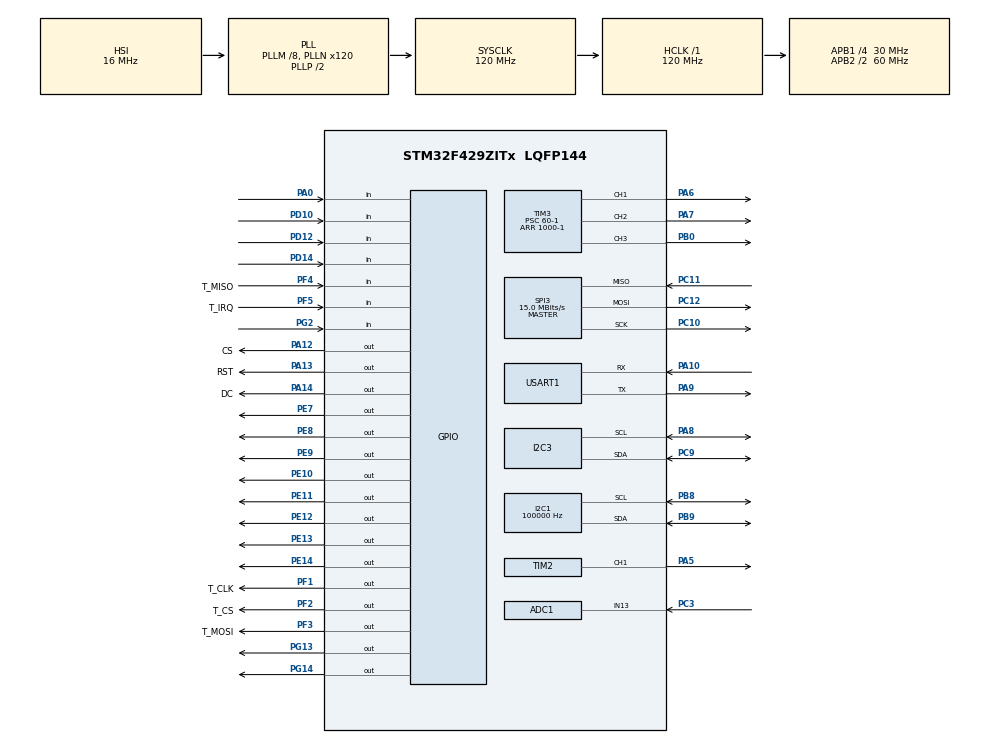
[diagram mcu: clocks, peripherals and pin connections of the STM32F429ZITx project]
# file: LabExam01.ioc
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ADC1.Channel-0\#ChannelRegularConversion=ADC_CHANNEL_13
ADC1.ContinuousConvMode=ENABLE
ADC1.EOCSelection=ADC_EOC_SEQ_CONV
ADC1.NbrOfConversionFlag=1
ADC1.Rank-0\#ChannelRegularConversion=1
ADC1.SamplingTime-0\#ChannelRegularConversion=ADC_SAMPLETIME_3CYCLES
ADC1.master=1
I2C1.ClockSpeed=100000
Mcu.Family=STM32F4
Mcu.Name=STM32F429ZITx
Mcu.Package=LQFP144
NVIC.PriorityGroup=NVIC_PRIORITYGROUP_4
PA0/WKUP.Signal=GPIO_Input
PA10.Mode=Asynchronous
PA10.Signal=USART1_RX
PA12.GPIO_Label=CS
PA12.GPIO_Speed=GPIO_SPEED_FREQ_VERY_HIGH
PA12.Signal=GPIO_Output
PA13.GPIO_Label=RST
PA13.GPIO_Speed=GPIO_SPEED_FREQ_VERY_HIGH
PA13.Signal=GPIO_Output
PA14.GPIO_Label=DC
PA14.GPIO_Speed=GPIO_SPEED_FREQ_VERY_HIGH
PA14.Signal=GPIO_Output
PA5.Signal=S_TIM2_CH1_ETR
PA6.Signal=S_TIM3_CH1
PA7.Signal=S_TIM3_CH2
PA8.Mode=I2C
PA8.Signal=I2C3_SCL
PA9.Mode=Asynchronous
PA9.Signal=USART1_TX
PB0.Signal=S_TIM3_CH3
PB8.Mode=I2C
PB8.Signal=I2C1_SCL
PB9.Mode=I2C
PB9.Signal=I2C1_SDA
PC10.Mode=Full_Duplex_Master
PC10.Signal=SPI3_SCK
PC11.Mode=Full_Duplex_Master
PC11.Signal=SPI3_MISO
PC12.Mode=Full_Duplex_Master
PC12.Signal=SPI3_MOSI
PC3.Signal=ADCx_IN13
PC9.Mode=I2C
PC9.Signal=I2C3_SDA
PD10.Signal=GPIO_Input
PD12.Signal=GPIO_Input
PD14.Signal=GPIO_Input
PE10.Signal=GPIO_Output
PE11.Signal=GPIO_Output
PE12.Signal=GPIO_Output
PE13.Signal=GPIO_Output
PE14.Signal=GPIO_Output
PE7.Signal=GPIO_Output
PE8.Signal=GPIO_Output
PE9.Signal=GPIO_Output
PF1.GPIO_Label=T_CLK
PF1.GPIO_Speed=GPIO_SPEED_FREQ_VERY_HIGH
PF1.Signal=GPIO_Output
PF2.GPIO_Label=T_CS
PF2.GPIO_Speed=GPIO_SPEED_FREQ_VERY_HIGH
PF2.Signal=GPIO_Output
PF3.GPIO_Label=T_MOSI
PF3.GPIO_Speed=GPIO_SPEED_FREQ_VERY_HIGH
PF3.Signal=GPIO_Output
PF4.GPIO_Label=T_MISO
PF4.Signal=GPIO_Input
PF5.GPIO_Label=T_IRQ
PF5.Signal=GPIO_Input
PG13.Signal=GPIO_Output
PG14.Signal=GPIO_Output
PG2.Signal=GPIO_Input
ProjectManager.HeapSize=0x200
ProjectManager.StackSize=0x400
ProjectManager.TargetToolchain=STM32CubeIDE
RCC.48MHZClocksFreq_Value=48000000
RCC.AHBFreq_Value=120000000
RCC.APB1CLKDivider=RCC_HCLK_DIV4
RCC.APB1Freq_Value=30000000
RCC.APB1TimFreq_Value=60000000
RCC.APB2CLKDivider=RCC_HCLK_DIV2
RCC.APB2Freq_Value=60000000
RCC.APB2TimFreq_Value=120000000
RCC.CortexFreq_Value=120000000
RCC.HCLKFreq_Value=120000000
RCC.HSE_VALUE=25000000
RCC.HSI_VALUE=16000000
RCC.LSE_VALUE=32768
RCC.PLLM=8
RCC.PLLN=120
RCC.PLLQ=5
RCC.SYSCLKFreq_VALUE=120000000
RCC.SYSCLKSource=RCC_SYSCLKSOURCE_PLLCLK
RCC.VCOOutputFreq_Value=240000000
SH.ADCx_IN13.0=ADC1_IN13,IN13
SH.S_TIM2_CH1_ETR.0=TIM2_CH1,PWM Generation1 CH1
SH.S_TIM3_CH1.0=TIM3_CH1,PWM Generation1 CH1
SH.S_TIM3_CH2.0=TIM3_CH2,PWM Generation2 CH2
SH.S_TIM3_CH3.0=TIM3_CH3,PWM Generation3 CH3
SPI3.CalculateBaudRate=15.0 MBits/s
SPI3.Direction=SPI_DIRECTION_2LINES
SPI3.Mode=SPI_MODE_MASTER
SPI3.VirtualType=VM_MASTER
TIM1.ClockDivision=TIM_CLOCKDIVISION_DIV2
TIM1.Period=12-1
TIM1.Prescaler=10000-1
TIM2.Channel-PWM\ Generation1\ CH1=TIM_CHANNEL_1
TIM2.Period=1000-1
TIM2.Prescaler=60-1
TIM2.Pulse-PWM\ Generation1\ CH1=1000-1
TIM3.Channel-PWM\ Generation1\ CH1=TIM_CHANNEL_1
TIM3.Channel-PWM\ Generation2\ CH2=TIM_CHANNEL_2
TIM3.Channel-PWM\ Generation3\ CH3=TIM_CHANNEL_3
TIM3.Period=1000-1
TIM3.Prescaler=60-1
TIM3.Pulse-PWM\ Generation1\ CH1=1000-1
TIM3.Pulse-PWM\ Generation2\ CH2=1000-1
TIM3.Pulse-PWM\ Generation3\ CH3=1000-1
USART1.VirtualMode=VM_ASYNC
VP_RNG_VS_RNG.Mode=RNG_Activate
VP_TIM1_VS_ClockSourceINT.Mode=Internal
VP_TIM3_VS_ClockSourceINT.Mode=Internal
board=custom

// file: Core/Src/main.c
/* USER CODE BEGIN Header */
/**
  ******************************************************************************
  * @file           : main.c
  * @brief          : Main program body
  ******************************************************************************
  * @attention
  *
  * <h2><center>&copy; Copyright (c) 2021 STMicroelectronics.
  * All rights reserved.</center></h2>
  *
  * This software component is licensed by ST under BSD 3-Clause license,
  * the "License"; You may not use this file except in compliance with the
  * License. You may obtain a copy of the License at:
  *                        opensource.org/licenses/BSD-3-Clause
  *
  ******************************************************************************
  */
/* USER CODE END Header */
#include "main.h"
#include "adc.h"
#include "i2c.h"
#include "rng.h"
#include "spi.h"
#include "tim.h"
#include "usart.h"
#include "gpio.h"

/* USER CODE BEGIN Includes */
#include "stdio.h"
#include "ILI9341_Touchscreen.h"

#include "ILI9341_STM32_Driver.h"
#include "ILI9341_GFX.h"

#include "snow_tiger.h"
#include "pop.h"
#include "string.h"

#include "stdbool.h"
/* USER CODE END Includes */

void SystemClock_Config(void);

/* USER CODE BEGIN 0 */
uint32_t color = 0x0000;
uint32_t value1 = 0x0000;
uint32_t value2 = 0x0000;
uint32_t value3 = 0x0000;

I2C_HandleTypeDef hi2c1; // not use
I2C_HandleTypeDef hi2c3; // not use

bool pressButton1 = false;
bool pressButton2 = false;
bool pressButton3 = false;
bool pressButton4 = false;

bool isPressButton1 = false;
bool isPressButton2 = false;
bool isPressButton3 = false;
bool isPressButton4 = false;

bool changeState = false;

float prevDuty = 0;

uint8_t mode = 0; // not use
uint8_t num = 0;

uint32_t now = 0;		//may use
uint32_t prenow = 0;	//may use
uint32_t sec = 0;		//may use
uint32_t counting = 3001;

float dutyCycleScreen = 0.0;

float dutyCycleR = 0.0;
float dutyCycleG = 0.0;
float dutyCycleB = 0.0;

char Temp_Buffer_text[50];

//ADC

volatile uint32_t adc_val = 0;

void displayHEX(uint32_t value){

	char hexString[100];

	sprintf(hexString,"ADC1_CH13 0x%08X Vin = %.2f V RawValue = %d\r\n", value, (float)value*3.3/4096.0, value);
	HAL_UART_Transmit(&huart1, (uint8_t*) hexString, strlen(hexString), 100);
	HAL_Delay(50);

	/*
	char ch1;
	//Waiting Receive...
	while(__HAL_UART_GET_FLAG(&huart1, UART_FLAG_RXNE)== RESET) {}
	HAL_UART_Receive(&huart1, (uint8_t*) &ch1, 1, 1000);

	switch (ch1){
	  case '1':
	  	  break;
	  default:

	}
	*/
}

/* USER CODE END 0 */

int main(void)
{

  /* MCU Configuration--------------------------------------------------------*/

  /* Reset of all peripherals, Initializes the Flash interface and the Systick. */
  HAL_Init();

  /* Configure the system clock */
  SystemClock_Config();

  /* Initialize all configured peripherals */
  MX_TIM1_Init();
  MX_GPIO_Init();
  MX_RNG_Init();
  MX_SPI3_Init();
  MX_USART1_UART_Init();
  MX_I2C1_Init();
  MX_ADC1_Init();
  MX_TIM2_Init();
  MX_I2C3_Init();
  MX_TIM3_Init();
  /* USER CODE BEGIN 2 */
  ILI9341_Init();//initial driver setup to drive ili9341

  HAL_ADC_Start(&hadc1);

  GPIOE -> BSRR = 0x00007F80 << num;	// off all

  void ADC_PWM(){

  		//ADC
  		  while(HAL_ADC_PollForConversion(&hadc1, 100) != HAL_OK){} // skip
  		  adc_val = HAL_ADC_GetValue(&hadc1); // get value of adc
  		  //displayHEX(adc_val);

	    //PWM
  		  dutyCycleScreen = ((adc_val/4095.0) * 0.55) + 0.25; // for 25% - 80%  // 0.8 is interval
  		  //No. 2
  		  htim2.Instance -> CCR1 = (100-1) * dutyCycleScreen;

  		 float displayNum = 0;

//  		  if(dutyCycleScreen >= 0.25 && dutyCycleScreen <= 0.45){
//  			displayNum =
//  		  }else if(dutyCycleScreen >= 0.50 && dutyCycleScreen <= 0.65){
//  			ILI9341_Draw_Text(Temp_Buffer_text,  320/2-20, 240/2-20, BLUE, 2, WHITE);
//  		  }else if(dutyCycleScreen >= 0.70 && dutyCycleScreen <= 0.80){
//  			ILI9341_Draw_Text(Temp_Buffer_text,  320/2-20, 240/2-20, CYAN, 2, WHITE);
//  		  }

  		if(dutyCycleScreen >= 0.25 && dutyCycleScreen < 0.30){
  			displayNum = 0.25;
  		}else if(dutyCycleScreen >= 0.30 && dutyCycleScreen < 0.35){
  			displayNum = 0.30;
  		}else if(dutyCycleScreen >= 0.35 && dutyCycleScreen < 0.40){
  			displayNum = 0.35;
  		}else if(dutyCycleScreen >= 0.40 && dutyCycleScreen < 0.45){
  			displayNum = 0.40;
 		}else if(dutyCycleScreen >= 0.45 && dutyCycleScreen < 0.50){
 			displayNum = 0.45;
 		}else if(dutyCycleScreen >= 0.50 && dutyCycleScreen < 0.55){
 			displayNum = 0.50;
 		}else if(dutyCycleScreen >= 0.55 && dutyCycleScreen < 0.60){
 			displayNum = 0.55;
 		}else if(dutyCycleScreen >= 0.60 && dutyCycleScreen < 0.65){
 			displayNum = 0.60;
 		}else if(dutyCycleScreen >= 0.65 && dutyCycleScreen < 0.68){
 			displayNum = 0.65;
 		}else if(dutyCycleScreen >= 0.68 && dutyCycleScreen < 0.75){
 			displayNum = 0.70;
 		}else if(dutyCycleScreen >= 0.75 && dutyCycleScreen < 0.79){
 			displayNum = 0.75;
 		}else if(dutyCycleScreen >= 0.79){
 			displayNum = 0.80;
 		}

  		if(prevDuty != displayNum){
  			changeState = true;
  			prevDuty = displayNum;
  		}

  		sprintf(Temp_Buffer_text, "%d", (uint8_t) (displayNum*100));
  		ILI9341_Set_Rotation(SCREEN_HORIZONTAL_1);
  		  if(displayNum >= 0.25 && displayNum <= 0.45){
  			  if(changeState == true){
  	  			ILI9341_Draw_Filled_Rectangle_Coord(0, 0, 320, 240, GREEN);
  	  			ILI9341_Draw_Text(Temp_Buffer_text, 320/2-20, 240/2-20, YELLOW, 2, GREEN);
  	  			changeState = false;
  			  }

  		  }else if(displayNum >= 0.50 && displayNum < 0.68){
  			  if(changeState == true){
  	  			ILI9341_Draw_Filled_Rectangle_Coord(0, 0, 320, 240, YELLOW);
  	  			ILI9341_Draw_Text(Temp_Buffer_text,  320/2-20, 240/2-20, BLUE, 2, YELLOW);
  				changeState = false;
  			  }

  		  }else if(displayNum >= 0.68 && displayNum <= 0.99){
  			ILI9341_Draw_Filled_Rectangle_Coord(0, 0, 320, 240, RED);
  			if(sec % 2 == 0){
  				sprintf(Temp_Buffer_text, "%d", (uint8_t) (displayNum*100));
  				ILI9341_Draw_Text(Temp_Buffer_text,  320/2-20, 240/2-20, CYAN, 2, RED);
  			}else{
  				sprintf(Temp_Buffer_text, "  ", (uint8_t) (displayNum*100));
  	  			ILI9341_Draw_Text(Temp_Buffer_text,  320/2-20, 240/2-20, CYAN, 2, RED);
  			}
  		  }

  		  HAL_TIM_PWM_Start(&htim3, TIM_CHANNEL_1);

//  		  switch(ch){
//			  case 'r':
//				  dutyCycleR += 0.2;
//				  if(dutyCycleR > 1.0){
//					  dutyCycleR = 0.0;
//				  }
//				  break;
//			  case 'g':
//				  dutyCycleG += 0.2;
//				  if(dutyCycleG > 1.0){
//					  dutyCycleG = 0.0;
//				  }
//				  break;
//			  case 'b':
//				  dutyCycleB += 0.2;
//				  if(dutyCycleB > 1.0){
//					  dutyCycleB = 0.0;
//				  }
//				  break;
//
//		  }

  		  HAL_TIM_PWM_Start(&htim2, TIM_CHANNEL_1);
  		  htim3.Instance -> CCR1 = (1000-1) * dutyCycleScreen;

  		  /*
  		     float dutyCycleB = 0.0;

  		   	 htim2.Instance -> CCR1 = (100-1) * dutyCycleB;
	  	  	 HAL_TIM_PWM_Start(&htim2, TIM_CHANNEL_1);
  			 HAL_Delay(1000);
  		  	 // HAL_TIM_PWM_Stop(&htim2, TIM_CHANNEL_1);

  		   */
  	}

  void readButton(){
	pressButton1 = !HAL_GPIO_ReadPin(GPIOD, GPIO_PIN_10); // pressButton1 is "true" when press, is "false" when not press
	pressButton2 = !HAL_GPIO_ReadPin(GPIOD, GPIO_PIN_12); // pressButton1 is "true" when press, is "false" when not press
	pressButton3 = !HAL_GPIO_ReadPin(GPIOD, GPIO_PIN_14); // pressButton1 is "true" when press, is "false" when not press
	pressButton4 = !HAL_GPIO_ReadPin(GPIOG, GPIO_PIN_2); // pressButton1 is "true" when press, is "false" when not press

//	char hexString[100];
//	sprintf(hexString,"%d %d %d %d\r\n",pressButton1, pressButton2, pressButton3, pressButton4);
//	HAL_UART_Transmit(&huart1, (uint8_t*) hexString, strlen(hexString), 100);

  }

  void ledPack(){

		// on when 0 (RESET)
		// off when 1 (SET)
		uint8_t on = 0;
		uint8_t off = 1;

		//Basic WritePin
	//	HAL_GPIO_WritePin(GPIOE, GPIO_PIN_7, off);
	//	HAL_GPIO_WritePin(GPIOE, GPIO_PIN_8, off);
	//	HAL_GPIO_WritePin(GPIOE, GPIO_PIN_9, off);
	//	HAL_GPIO_WritePin(GPIOE, GPIO_PIN_10, off);
	//	HAL_GPIO_WritePin(GPIOE, GPIO_PIN_11, off);
	//	HAL_GPIO_WritePin(GPIOE, GPIO_PIN_12, off);
	//	HAL_GPIO_WritePin(GPIOE, GPIO_PIN_13, off);
	//	HAL_GPIO_WritePin(GPIOE, GPIO_PIN_14, off);

//		HAL_GPIO_TogglePin(GPIOE, GPIO_PIN_7)

					    //RESET SET
//		GPIOE -> BSRR = 0x00000080 << num;	// off
//		GPIOE -> BSRR = 0x00400000 << num;	// on
//		HAL_Delay(500);
//		num++;
//		if(num == 9){ // on follow off 9 times
//			num = 0;
//		}

		//Step 1
//		GPIOE -> BSRR = 0x78000000 << num;	// on
//		HAL_Delay(500);
//		GPIOE -> BSRR = 0x00007F80 << num;	// off
//		HAL_Delay(500);
//
//		//Step 2
//		GPIOE -> BSRR = 0x07800000 << num;	// on
//		HAL_Delay(500);
//		GPIOE -> BSRR = 0x00007F80 << num;	// off
//		HAL_Delay(500);
//
//		//Step 3
//		GPIOE -> BSRR = 0x60000000 << num;	// on
//		HAL_Delay(500);
//		GPIOE -> BSRR = 0x00007F80 << num;	// off
//		HAL_Delay(500);
//
//		//Step 4
//		GPIOE -> BSRR = 0x01800000 << num;	// on
//		HAL_Delay(500);
//		GPIOE -> BSRR = 0x00007F80 << num;	// off
//		HAL_Delay(500);

		/*

		//Light Off		//RESET SET
		GPIOC -> BSRR = (0x00000700);
		HAL_Delay(500);

		//Light On
		GPIOC -> BSRR = (0x04000000 >> n);
		HAL_Delay(500);

		 */
  }

  void ledRGB(){

	  //static

//	  dutyCycleG =0.5;
//	  dutyCycleB =0.5;

//	  htim3.Instance -> CCR2 = (100-1) * dutyCycleG;
//	  htim3.Instance -> CCR3 = (100-1) * dutyCycleB;

//	  HAL_TIM_PWM_Start(&htim3, TIM_CHANNEL_2);
//	  HAL_TIM_PWM_Start(&htim3, TIM_CHANNEL_3);

//	  //Waiting Receive...
//	  while(__HAL_UART_GET_FLAG(&huart1, UART_FLAG_RXNE)== RESET) {
//		  pwmR = ((GPIOB-> IDR & GPIO_PIN_3) >> 3);
//		  pwmG = ((GPIOA-> IDR & GPIO_PIN_5) >> 5)+1;
//		  pwmB = ((GPIOB-> IDR & GPIO_PIN_4) >> 4)+2;
//	  }
//	  HAL_UART_Receive(&huart1, (uint8_t*) &ch, 1, 1000);

//	  switch(ch){
//	  case 'r':
//		  dutyCycleR += 0.2;
//		  if(dutyCycleR > 1.0){
//			  dutyCycleR = 0.0;
//		  }
//		  break;
//	  case 'g':
//		  dutyCycleG += 0.2;
//		  if(dutyCycleG > 1.0){
//			  dutyCycleG = 0.0;
//		  }
//		  break;
//	  case 'b':
//		  dutyCycleB += 0.2;
//		  if(dutyCycleB > 1.0){
//			  dutyCycleB = 0.0;
//		  }
//		  break;
//
//	  }

//	  It doesn't need to have stop functions
//	  HAL_TIM_PWM_Stop(&htim2, TIM_CHANNEL_2);
//	  HAL_TIM_PWM_Stop(&htim2, TIM_CHANNEL_1);
//	  HAL_TIM_PWM_Stop(&htim3, TIM_CHANNEL_1);
  }

  void clockCalculation(){

  }

  /* USER CODE END 2 */

  /* Infinite loop */
  while (1)
  {

    /* USER CODE BEGIN 3 */

//		now = HAL_GetTick();
//		uint8_t on = 0;
//		uint8_t off = 1;
//	  	readButton();
//
//	  	if(pressButton1 == 1){
//	  		mode = 1 ;
//	  		sec = 0;
//	  	}
//
//
//	  	if(mode == 0){
//
//
//			if (now - prenow >= 1000){
//
//				sprintf(Temp_Buffer_text,"%d\r\n", counting);
//				HAL_UART_Transmit(&huart1, (uint8_t*) Temp_Buffer_text, strlen(Temp_Buffer_text), 100);
//
//				sec++;
//				prenow = now;
//				counting += 2;
//
//			}
//			if(counting > 3029){
//				sprintf(Temp_Buffer_text,"STOP\r\n");
//				HAL_UART_Transmit(&huart1, (uint8_t*) Temp_Buffer_text, strlen(Temp_Buffer_text), 100);
//				break;
//			}
//
//	  	}else if (mode == 1){
//			if (now - prenow >= 1000){
//
////				sprintf(Temp_Buffer_text,"%d\r\n", counting);
////				HAL_UART_Transmit(&huart1, (uint8_t*) Temp_Buffer_text, strlen(Temp_Buffer_text), 100);
//
//				sec++;
//				prenow = now;
//			}
//			if(sec == 1){
//				HAL_GPIO_WritePin(GPIOE, GPIO_PIN_7, on);
//			}else if(sec == 2){
//				HAL_GPIO_WritePin(GPIOE, GPIO_PIN_8, on);
//			}else if(sec == 3){
//				HAL_GPIO_WritePin(GPIOE, GPIO_PIN_7, off);
//				HAL_GPIO_WritePin(GPIOE, GPIO_PIN_8, off);
//				mode = 0;
//			}
//
//	  	}

//	//Initialise screen
//	ILI9341_Fill_Screen(WHITE);
//	ILI9341_Set_Rotation(SCREEN_HORIZONTAL_1);
//
//
//	//Print something here ...
//	//...
//
//	uint32_t maxWidth = 320;
//	uint32_t maxHeight = 240;
//
//
//	sprintf(Temp_Buffer_text, "This is a test");
//	ILI9341_Draw_Text(Temp_Buffer_text, 10, 40, BLACK, 2, WHITE);
//
//
//	//Start While Touch
//	while(1){
//
//		// update or read value
		ADC_PWM();
//		readButton();
//		ledPack();
//		ledRGB();
//		clockCalculation();
//
//		ILI9341_Set_Rotation(SCREEN_VERTICAL_1);
//
//		if(TP_Touchpad_Pressed())
//		{
//
//			uint16_t x_pos = 0;
//			uint16_t y_pos = 0;
//
//
//			//HAL_GPIO_WritePin(GPIOG, GPIO_PIN_13|GPIO_PIN_14, GPIO_PIN_SET);
//
//			uint16_t position_array[2];
//
//			if(TP_Read_Coordinates(position_array) == TOUCHPAD_DATA_OK)
//			{
//				x_pos = position_array[0];
//				y_pos = position_array[1];
//				//ILI9341_Draw_Filled_Circle(x_pos, y_pos, 2, BLACK);
//
//
//				if(x_pos > 0 && x_pos < 240 && y_pos > 0  && y_pos < 320/2-50){
//					mode = 1;
//					break;
//				}
//
//				//Check x_pos y_pos for mapping
//
////				ILI9341_Set_Rotation(SCREEN_HORIZONTAL_1);
////				char counter_buff[30];
////				sprintf(counter_buff, "POS X: %.3d", x_pos);
////				ILI9341_Draw_Text(counter_buff, 10, 80, BLACK, 2, WHITE);
////				sprintf(counter_buff, "POS Y: %.3d", y_pos);
////				ILI9341_Draw_Text(counter_buff, 10, 120, BLACK, 2, WHITE);
//
//
//				//All Update when pressed
//				//...
//			}
//		}
//		//All Update when not pressed
//		//...
//
//
//		//Counting
////  	  	now = HAL_GetTick();
////  	  	if (now - prenow >= 1000){
////				sec++;
////				prenow = now;
////  	  	}
////
////  	  	if(sec == 5){
////  	  		sec = 0;
////  	  		mode = 1;
////  	  		break;
////  	  	}
//
//	}
//	//End While Touch

//----------------------------------------------------------COUNTING MULTIPLE SEGMENTS
//	  		ILI9341_Fill_Screen(WHITE);
//	  		ILI9341_Set_Rotation(SCREEN_HORIZONTAL_1);
//	  		ILI9341_Draw_Text("Counting multiple segments at once", 10, 10, BLACK, 1, WHITE);
//	  		HAL_Delay(2000);
//	  		ILI9341_Fill_Screen(WHITE);
//
//
//	  		for(uint16_t i = 0; i <= 10; i++)
//	  		{
//	  		sprintf(Temp_Buffer_text, "Counting: %d", i);
//	  		ILI9341_Draw_Text(Temp_Buffer_text, 10, 10, BLACK, 2, WHITE);
//	  		ILI9341_Draw_Text(Temp_Buffer_text, 10, 30, BLUE, 2, WHITE);
//	  		ILI9341_Draw_Text(Temp_Buffer_text, 10, 50, RED, 2, WHITE);
//	  		ILI9341_Draw_Text(Temp_Buffer_text, 10, 70, GREEN, 2, WHITE);
//	  		ILI9341_Draw_Text(Temp_Buffer_text, 10, 90, BLACK, 2, WHITE);
//	  		ILI9341_Draw_Text(Temp_Buffer_text, 10, 110, BLUE, 2, WHITE);
//	  		ILI9341_Draw_Text(Temp_Buffer_text, 10, 130, RED, 2, WHITE);
//	  		ILI9341_Draw_Text(Temp_Buffer_text, 10, 150, GREEN, 2, WHITE);
//	  		ILI9341_Draw_Text(Temp_Buffer_text, 10, 170, WHITE, 2, BLACK);
//	  		ILI9341_Draw_Text(Temp_Buffer_text, 10, 190, BLUE, 2, BLACK);
//	  		ILI9341_Draw_Text(Temp_Buffer_text, 10, 210, RED, 2, BLACK);
//	  		}
//
//	  		HAL_Delay(1000);

//----------------------------------------------------------COUNTING SINGLE SEGMENT
//	  		ILI9341_Fill_Screen(WHITE);
//	  		ILI9341_Set_Rotation(SCREEN_HORIZONTAL_1);
//	  		ILI9341_Draw_Text("Counting single segment", 10, 10, BLACK, 1, WHITE);
//	  		HAL_Delay(2000);
//	  		ILI9341_Fill_Screen(WHITE);
//
//	  		for(uint16_t i = 0; i <= 100; i++)
//	  		{
//	  		sprintf(Temp_Buffer_text, "Counting: %d", i);
//	  		ILI9341_Draw_Text(Temp_Buffer_text, 10, 10, BLACK, 3, WHITE);
//	  		}
//
//	  		HAL_Delay(1000);

//----------------------------------------------------------ALIGNMENT TEST
//	  		ILI9341_Fill_Screen(WHITE);
//	  		ILI9341_Set_Rotation(SCREEN_HORIZONTAL_1);
//	  		ILI9341_Draw_Text("Rectangle alignment check", 10, 10, BLACK, 1, WHITE);
//	  		HAL_Delay(2000);
//	  		ILI9341_Fill_Screen(WHITE);
//
//	  		ILI9341_Draw_Hollow_Rectangle_Coord(50, 50, 100, 100, BLACK);
//	  		ILI9341_Draw_Filled_Rectangle_Coord(20, 20, 50, 50, BLACK);
//	  		ILI9341_Draw_Hollow_Rectangle_Coord(10, 10, 19, 19, BLACK);
//	  		HAL_Delay(1000);

//----------------------------------------------------------LINES EXAMPLE

		//Line and Horizontal and Vertical

//	  		ILI9341_Fill_Screen(WHITE);
//	  		ILI9341_Set_Rotation(SCREEN_HORIZONTAL_1);
//	  		ILI9341_Draw_Text("Randomly placed and sized", 10, 10, BLACK, 1, WHITE);
//	  		ILI9341_Draw_Text("Horizontal and Vertical lines", 10, 20, BLACK, 1, WHITE);
//	  		HAL_Delay(2000);
//	  		ILI9341_Fill_Screen(WHITE);
//
//	  		for(uint32_t i = 0; i < 30000; i++)
//	  		{
//	  			uint32_t random_num = 0;
//	  			uint16_t xr = 0;
//	  			uint16_t yr = 0;
//	  			uint16_t radiusr = 0;
//	  			uint16_t colourr = 0;
//	  			random_num = HAL_RNG_GetRandomNumber(&hrng);
//	  			xr = random_num;
//	  			random_num = HAL_RNG_GetRandomNumber(&hrng);
//	  			yr = random_num;
//	  			random_num = HAL_RNG_GetRandomNumber(&hrng);
//	  			radiusr = random_num;
//	  			random_num = HAL_RNG_GetRandomNumber(&hrng);
//	  			colourr = random_num;
//
//	  			xr &= 0x01FF;
//	  			yr &= 0x01FF;
//	  			radiusr &= 0x001F;
//	  			//ili9341_drawpixel(xr, yr, WHITE);
//	  			ILI9341_Draw_Horizontal_Line(xr, yr, radiusr, colourr);
//	  			ILI9341_Draw_Vertical_Line(xr, yr, radiusr, colourr);
//	  		}
//
//	  		HAL_Delay(1000);

//----------------------------------------------------------HOLLOW CIRCLES EXAMPLE
//	  		ILI9341_Fill_Screen(WHITE);
//	  		ILI9341_Set_Rotation(SCREEN_HORIZONTAL_1);
//	  		ILI9341_Draw_Text("Randomly placed and sized", 10, 10, BLACK, 1, WHITE);
//	  		ILI9341_Draw_Text("Circles", 10, 20, BLACK, 1, WHITE);
//	  		HAL_Delay(2000);
//	  		ILI9341_Fill_Screen(WHITE);
//
//
//	  		for(uint32_t i = 0; i < 3000; i++)
//	  		{
//	  			uint32_t random_num = 0;
//	  			uint16_t xr = 0;
//	  			uint16_t yr = 0;
//	  			uint16_t radiusr = 0;
//	  			uint16_t colourr = 0;
//	  			random_num = HAL_RNG_GetRandomNumber(&hrng);
//	  			xr = random_num;
//	  			random_num = HAL_RNG_GetRandomNumber(&hrng);
//	  			yr = random_num;
//	  			random_num = HAL_RNG_GetRandomNumber(&hrng);
//	  			radiusr = random_num;
//	  			random_num = HAL_RNG_GetRandomNumber(&hrng);
//	  			colourr = random_num;
//
//	  			xr &= 0x01FF;
//	  			yr &= 0x01FF;
//	  			radiusr &= 0x001F;
//	  			//ili9341_drawpixel(xr, yr, WHITE);
//	  			ILI9341_Draw_Hollow_Circle(xr, yr, radiusr*2, colourr);
//	  		}
//	  		HAL_Delay(1000);

//----------------------------------------------------------FILLED CIRCLES EXAMPLE
//	  		ILI9341_Fill_Screen(WHITE);
//	  		ILI9341_Set_Rotation(SCREEN_HORIZONTAL_1);
//	  		ILI9341_Draw_Text("Randomly placed and sized", 10, 10, BLACK, 1, WHITE);
//	  		ILI9341_Draw_Text("Filled Circles", 10, 20, BLACK, 1, WHITE);
//	  		HAL_Delay(2000);
//	  		ILI9341_Fill_Screen(WHITE);
//
//	  		for(uint32_t i = 0; i < 1000; i++)
//	  		{
//	  			uint32_t random_num = 0;
//	  			uint16_t xr = 0;
//	  			uint16_t yr = 0;
//	  			uint16_t radiusr = 0;
//	  			uint16_t colourr = 0;
//	  			random_num = HAL_RNG_GetRandomNumber(&hrng);
//	  			xr = random_num;
//	  			random_num = HAL_RNG_GetRandomNumber(&hrng);
//	  			yr = random_num;
//	  			random_num = HAL_RNG_GetRandomNumber(&hrng);
//	  			radiusr = random_num;
//	  			random_num = HAL_RNG_GetRandomNumber(&hrng);
//	  			colourr = random_num;
//
//	  			xr &= 0x01FF;
//	  			yr &= 0x01FF;
//	  			radiusr &= 0x001F;
//	  			//ili9341_drawpixel(xr, yr, WHITE);
//	  			ILI9341_Draw_Filled_Circle(xr, yr, radiusr/2, colourr);
//	  		}
//	  		HAL_Delay(1000);

//----------------------------------------------------------HOLLOW RECTANGLES EXAMPLE
//	  		ILI9341_Fill_Screen(WHITE);
//	  		ILI9341_Set_Rotation(SCREEN_HORIZONTAL_1);
//	  		ILI9341_Draw_Text("Randomly placed and sized", 10, 10, BLACK, 1, WHITE);
//	  		ILI9341_Draw_Text("Rectangles", 10, 20, BLACK, 1, WHITE);
//	  		HAL_Delay(2000);
//	  		ILI9341_Fill_Screen(WHITE);
//
//	  		for(uint32_t i = 0; i < 20000; i++)
//	  		{
//	  			uint32_t random_num = 0;
//	  			uint16_t xr = 0;
//	  			uint16_t yr = 0;
//	  			uint16_t radiusr = 0;
//	  			uint16_t colourr = 0;
//	  			random_num = HAL_RNG_GetRandomNumber(&hrng);
//	  			xr = random_num;
//	  			random_num = HAL_RNG_GetRandomNumber(&hrng);
//	  			yr = random_num;
//	  			random_num = HAL_RNG_GetRandomNumber(&hrng);
//	  			radiusr = random_num;
//	  			random_num = HAL_RNG_GetRandomNumber(&hrng);
//	  			colourr = random_num;
//
//	  			xr &= 0x01FF;
//	  			yr &= 0x01FF;
//	  			radiusr &= 0x001F;
//	  			//ili9341_drawpixel(xr, yr, WHITE);
//	  			ILI9341_Draw_Hollow_Rectangle_Coord(xr, yr, xr+radiusr, yr+radiusr, colourr);
//	  		}
//	  		HAL_Delay(1000);

//----------------------------------------------------------FILLED RECTANGLES EXAMPLE
//	  		ILI9341_Fill_Screen(WHITE);
//	  		ILI9341_Set_Rotation(SCREEN_HORIZONTAL_1);
//	  		ILI9341_Draw_Text("Randomly placed and sized", 10, 10, BLACK, 1, WHITE);
//	  		ILI9341_Draw_Text("Filled Rectangles", 10, 20, BLACK, 1, WHITE);
//	  		HAL_Delay(2000);
//	  		ILI9341_Fill_Screen(WHITE);
//
//	  		for(uint32_t i = 0; i < 20000; i++)
//	  		{
//	  			uint32_t random_num = 0;
//	  			uint16_t xr = 0;
//	  			uint16_t yr = 0;
//	  			uint16_t radiusr = 0;
//	  			uint16_t colourr = 0;
//	  			random_num = HAL_RNG_GetRandomNumber(&hrng);
//	  			xr = random_num;
//	  			random_num = HAL_RNG_GetRandomNumber(&hrng);
//	  			yr = random_num;
//	  			random_num = HAL_RNG_GetRandomNumber(&hrng);
//	  			radiusr = random_num;
//	  			random_num = HAL_RNG_GetRandomNumber(&hrng);
//	  			colourr = random_num;
//
//	  			xr &= 0x01FF;
//	  			yr &= 0x01FF;
//	  			radiusr &= 0x001F;
//	  			//ili9341_drawpixel(xr, yr, WHITE);
//	  			ILI9341_Draw_Rectangle(xr, yr, radiusr, radiusr, colourr);
//	  		}
//	  		HAL_Delay(1000);

//----------------------------------------------------------INDIVIDUAL PIXEL EXAMPLE

		//Transition

//	  		ILI9341_Fill_Screen(WHITE);
//	  		ILI9341_Set_Rotation(SCREEN_HORIZONTAL_1);
//	  		ILI9341_Draw_Text("Slow draw by selecting", 10, 10, BLACK, 1, WHITE);
//	  		ILI9341_Draw_Text("and addressing pixels", 10, 20, BLACK, 1, WHITE);
//	  		HAL_Delay(2000);
//	  		ILI9341_Fill_Screen(WHITE);
//
//
//	  		x = 0;
//	  		y = 0;
//	  		while (y < 240)
//	  		{
//	  		while ((x < 320) && (y < 240))
//	  		{
//
//	  			if(x % 2)
//	  			{
//	  				ILI9341_Draw_Pixel(x, y, BLACK);
//	  			}
//
//	  			x++;
//	  		}
//
//	  			y++;
//	  			x = 0;
//	  		}
//
//	  		x = 0;
//	  		y = 0;
//
//
//	  		while (y < 240)
//	  		{
//	  		while ((x < 320) && (y < 240))
//	  		{
//
//	  			if(y % 2)
//	  			{
//	  				ILI9341_Draw_Pixel(x, y, BLACK);
//	  			}
//
//	  			x++;
//	  		}
//
//	  			y++;
//	  			x = 0;
//	  		}
//	  		HAL_Delay(2000);

//----------------------------------------------------------INDIVIDUAL PIXEL EXAMPLE
//	  		ILI9341_Fill_Screen(WHITE);
//	  		ILI9341_Set_Rotation(SCREEN_HORIZONTAL_1);
//	  		ILI9341_Draw_Text("Random position and colour", 10, 10, BLACK, 1, WHITE);
//	  		ILI9341_Draw_Text("500000 pixels", 10, 20, BLACK, 1, WHITE);
//	  		HAL_Delay(2000);
//	  		ILI9341_Fill_Screen(WHITE);
//
//
//	  		for(uint32_t i = 0; i < 500000; i++)
//	  		{
//	  			uint32_t random_num = 0;
//	  			uint16_t xr = 0;
//	  			uint16_t yr = 0;
//	  			random_num = HAL_RNG_GetRandomNumber(&hrng);
//	  			xr = random_num;
//	  			random_num = HAL_RNG_GetRandomNumber(&hrng);
//	  			yr = random_num;
//	  			uint16_t color = HAL_RNG_GetRandomNumber(&hrng);
//
//	  			xr &= 0x01FF;
//	  			yr &= 0x01FF;
//	  			ILI9341_Draw_Pixel(xr, yr, color);
//	  		}
//	  		HAL_Delay(2000);

//----------------------------------------------------------565 COLOUR EXAMPLE, Grayscale
//	  		ILI9341_Fill_Screen(WHITE);
//	  		ILI9341_Set_Rotation(SCREEN_HORIZONTAL_1);
//	  		ILI9341_Draw_Text("Colour gradient", 10, 10, BLACK, 1, WHITE);
//	  		ILI9341_Draw_Text("Grayscale", 10, 20, BLACK, 1, WHITE);
//	  		HAL_Delay(2000);
//
//
//	  		for(uint16_t i = 0; i <= (320); i++)
//	  		{
//	  			uint16_t Red = 0;
//	  			uint16_t Green = 0;
//	  			uint16_t Blue = 0;
//
//	  			Red = i/(10);
//	  			Red <<= 11;
//	  			Green = i/(5);
//	  			Green <<= 5;
//	  			Blue = i/(10);
//
//
//
//	  			uint16_t RGB_color = Red + Green + Blue;
//	  			ILI9341_Draw_Rectangle(i, x, 1, 240, RGB_color);
//
//	  		}
//	  		HAL_Delay(2000);

//----------------------------------------------------------IMAGE EXAMPLE, Snow Tiger
//	  		ILI9341_Fill_Screen(WHITE);
//	  		ILI9341_Set_Rotation(SCREEN_HORIZONTAL_1);
//	  		ILI9341_Draw_Text("RGB Picture", 10, 10, BLACK, 1, WHITE);
//	  		ILI9341_Draw_Text("TIGER", 10, 20, BLACK, 1, WHITE);
//	  		HAL_Delay(2000);
//	  		ILI9341_Draw_Image((const char*)snow_tiger, SCREEN_VERTICAL_2);
//	  		ILI9341_Set_Rotation(SCREEN_VERTICAL_1);
//	  		HAL_Delay(5000);

//----------------------------------------------------------TOUCHSCREEN EXAMPLE
//	  		ILI9341_Fill_Screen(WHITE);
//	  		ILI9341_Set_Rotation(SCREEN_HORIZONTAL_1);
//	  		ILI9341_Draw_Text("Touchscreen", 10, 10, BLACK, 2, WHITE);
//	  		ILI9341_Draw_Text("Touch to draw", 10, 30, BLACK, 2, WHITE);
//	  		ILI9341_Set_Rotation(SCREEN_VERTICAL_1);
//
//
//	  		while(1)
//	  		{
//	  			//HAL_Delay(50);
//
//	  			if(TP_Touchpad_Pressed())
//	          {
//
//	  					uint16_t x_pos = 0;
//	  					uint16_t y_pos = 0;
//
//
//	  					HAL_GPIO_WritePin(GPIOG, GPIO_PIN_13|GPIO_PIN_14, GPIO_PIN_SET);
//
//	  					uint16_t position_array[2];
//
//	  					if(TP_Read_Coordinates(position_array) == TOUCHPAD_DATA_OK)
//	  					{
//	  					x_pos = position_array[0];
//	  					y_pos = position_array[1];
//	  					ILI9341_Draw_Filled_Circle(x_pos, y_pos, 2, BLACK);
//
//	  					ILI9341_Set_Rotation(SCREEN_HORIZONTAL_1);
//	  					char counter_buff[30];
//	  					sprintf(counter_buff, "POS X: %.3d", x_pos);
//	  					ILI9341_Draw_Text(counter_buff, 10, 80, BLACK, 2, WHITE);
//	  					sprintf(counter_buff, "POS Y: %.3d", y_pos);
//	  					ILI9341_Draw_Text(counter_buff, 10, 120, BLACK, 2, WHITE);
//	  					ILI9341_Set_Rotation(SCREEN_VERTICAL_1);
//	  					}
//
//	  					ILI9341_Draw_Pixel(x_pos, y_pos, BLACK);
//
//	          }
//	  			else
//	  			{
//	  				HAL_GPIO_WritePin(GPIOG, GPIO_PIN_13|GPIO_PIN_14, GPIO_PIN_RESET);
//	  			}
//
//	  		}

	}
  /* USER CODE END 3 */
}

void SystemClock_Config(void)
{
  RCC_OscInitTypeDef RCC_OscInitStruct = {0};
  RCC_ClkInitTypeDef RCC_ClkInitStruct = {0};

  /** Configure the main internal regulator output voltage
  */
  __HAL_RCC_PWR_CLK_ENABLE();
  __HAL_PWR_VOLTAGESCALING_CONFIG(PWR_REGULATOR_VOLTAGE_SCALE3);
  /** Initializes the RCC Oscillators according to the specified parameters
  * in the RCC_OscInitTypeDef structure.
  */
  RCC_OscInitStruct.OscillatorType = RCC_OSCILLATORTYPE_HSI;
  RCC_OscInitStruct.HSIState = RCC_HSI_ON;
  RCC_OscInitStruct.HSICalibrationValue = RCC_HSICALIBRATION_DEFAULT;
  RCC_OscInitStruct.PLL.PLLState = RCC_PLL_ON;
  RCC_OscInitStruct.PLL.PLLSource = RCC_PLLSOURCE_HSI;
  RCC_OscInitStruct.PLL.PLLM = 8;
  RCC_OscInitStruct.PLL.PLLN = 120;
  RCC_OscInitStruct.PLL.PLLP = RCC_PLLP_DIV2;
  RCC_OscInitStruct.PLL.PLLQ = 5;
  if (HAL_RCC_OscConfig(&RCC_OscInitStruct) != HAL_OK)
  {
    Error_Handler();
  }
  /** Initializes the CPU, AHB and APB buses clocks
  */
  RCC_ClkInitStruct.ClockType = RCC_CLOCKTYPE_HCLK|RCC_CLOCKTYPE_SYSCLK
                              |RCC_CLOCKTYPE_PCLK1|RCC_CLOCKTYPE_PCLK2;
  RCC_ClkInitStruct.SYSCLKSource = RCC_SYSCLKSOURCE_PLLCLK;
  RCC_ClkInitStruct.AHBCLKDivider = RCC_SYSCLK_DIV1;
  RCC_ClkInitStruct.APB1CLKDivider = RCC_HCLK_DIV4;
  RCC_ClkInitStruct.APB2CLKDivider = RCC_HCLK_DIV2;

  if (HAL_RCC_ClockConfig(&RCC_ClkInitStruct, FLASH_LATENCY_3) != HAL_OK)
  {
    Error_Handler();
  }
}

void Error_Handler(void)
{
  __disable_irq();
  while (1)
  {
  }
}

/************************ (C) COPYRIGHT STMicroelectronics *****END OF FILE****/
